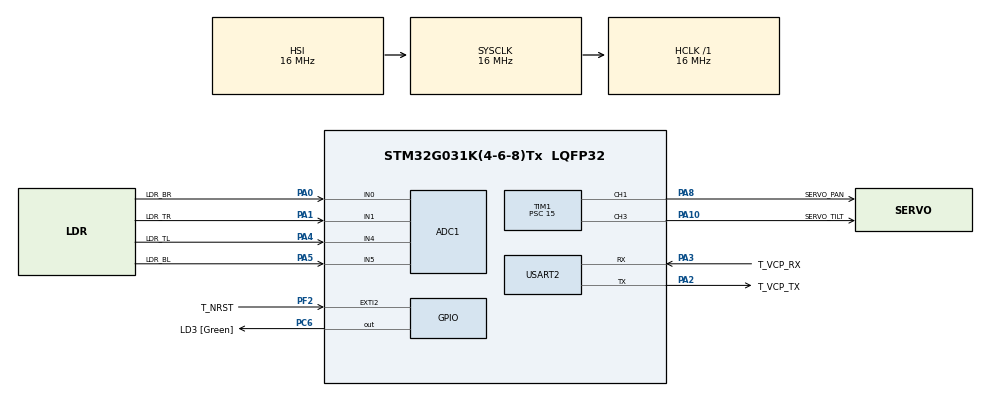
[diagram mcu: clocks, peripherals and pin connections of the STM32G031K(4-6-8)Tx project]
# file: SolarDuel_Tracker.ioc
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ADC1.Channel-0\#ChannelRegularConversion=ADC_CHANNEL_0
ADC1.NbrOfConversionFlag=1
ADC1.Rank-0\#ChannelRegularConversion=1
ADC1.SamplingTime-0\#ChannelRegularConversion=ADC_SAMPLINGTIME_COMMON_1
ADC1.SelectedChannel=ADC_CHANNEL_0|ADC_CHANNEL_1|ADC_CHANNEL_4|ADC_CHANNEL_5
ADC1.master=1
Mcu.Family=STM32G0
Mcu.Name=STM32G031K(4-6-8)Tx
Mcu.Package=LQFP32
PA0.GPIO_Label=LDR_BR
PA0.Mode=IN0
PA0.Signal=ADC1_IN0
PA1.GPIO_Label=LDR_TR
PA1.Mode=IN1
PA1.Signal=ADC1_IN1
PA10.GPIO_Label=SERVO_TILT
PA10.Signal=S_TIM1_CH3
PA13.GPIO_Label=T_JTMS
PA13.Mode=Serial_Wire
PA13.Signal=SYS_SWDIO
PA14-BOOT0.GPIO_Label=T_JTCK
PA14-BOOT0.Mode=Serial_Wire
PA14-BOOT0.Signal=SYS_SWCLK
PA2.GPIO_Label=T_VCP_TX
PA2.GPIO_PuPd=GPIO_PULLUP
PA2.Mode=Asynchronous
PA2.Signal=USART2_TX
PA3.GPIO_Label=T_VCP_RX
PA3.GPIO_PuPd=GPIO_PULLUP
PA3.Mode=Asynchronous
PA3.Signal=USART2_RX
PA4.GPIO_Label=LDR_TL
PA4.Mode=IN4
PA4.Signal=ADC1_IN4
PA5.GPIO_Label=LDR_BL
PA5.Mode=IN5
PA5.Signal=ADC1_IN5
PA8.GPIO_Label=SERVO_PAN
PA8.Signal=S_TIM1_CH1
PC14-OSC32_IN\ (PC14).Mode=LSE-External-Oscillator
PC14-OSC32_IN\ (PC14).Signal=RCC_OSC32_IN
PC15-OSC32_OUT\ (PC15).Mode=LSE-External-Oscillator
PC15-OSC32_OUT\ (PC15).Signal=RCC_OSC32_OUT
PC6.GPIO_Label=LD3 [Green]
PC6.Signal=GPIO_Output
PF2\ -\ NRST.GPIO_Label=T_NRST
PF2\ -\ NRST.Signal=GPXTI2
ProjectManager.HeapSize=0x200
ProjectManager.StackSize=0x400
ProjectManager.TargetToolchain=STM32CubeIDE
RCC.AHBFreq_Value=16000000
RCC.CortexFreq_Value=16000000
RCC.EXTERNAL_CLOCK_VALUE=12288000
RCC.HCLKFreq_Value=16000000
RCC.HSE_VALUE=8000000
RCC.HSI_VALUE=16000000
RCC.SYSCLKFreq_VALUE=16000000
RCC.VCOOutputFreq_Value=128000000
SH.S_TIM1_CH1.0=TIM1_CH1,PWM Generation1 CH1
SH.S_TIM1_CH3.0=TIM1_CH3,PWM Generation3 CH3
TIM1.Channel-PWM\ Generation1\ CH1=TIM_CHANNEL_1
TIM1.Channel-PWM\ Generation3\ CH3=TIM_CHANNEL_3
TIM1.Period=19999
TIM1.Prescaler=15
USART2.VirtualMode-Asynchronous=VM_ASYNC
USART2.WordLength=WORDLENGTH_7B
board=NUCLEO-G031K8

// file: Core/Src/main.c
/* USER CODE BEGIN Header */
/**
  ******************************************************************************
  * @file           : main.c
  * @brief          : Main program body
  ******************************************************************************
  * @attention
  *
  * Copyright (c) 2026 STMicroelectronics.
  * All rights reserved.
  *
  * This software is licensed under terms that can be found in the LICENSE file
  * in the root directory of this software component.
  * If no LICENSE file comes with this software, it is provided AS-IS.
  *
  ******************************************************************************
  */
/* USER CODE END Header */
#include "main.h"

/* USER CODE BEGIN Includes */
#include <stdlib.h>
#include <stdio.h>
/* USER CODE END Includes */

/* USER CODE BEGIN PTD */

/* 1-D Kalman filter state for LDR noise reduction */
typedef struct {
    float x;    /* State estimate */
    float p;    /* Estimate covariance */
    float q;    /* Process noise */
    float r;    /* Measurement noise */
} Kalman1D;

/* PID controller with derivative-on-measurement and filtered derivative */
typedef struct {
    float kp;
    float ki;
    float kd;
    float integral;
    float prev_error;
    float prev_measurement;
    float i_limit;
    float d_filtered;
    float d_alpha;
    float prev_raw_d;
} PID;
/* USER CODE END PTD */

/* USER CODE BEGIN PD */

/* Servo PWM pulse limits (microseconds) */
#define PAN_MIN              500
#define PAN_MAX              2000
#define TILT_MIN             500
#define TILT_MAX             1300

/* Output low-pass filter (1.0 = disabled, smaller = more smoothing) */
#define SMOOTH_ALPHA         0.95f

/* Adaptive deadband bounds (LDR ADC units) */
#define TOL_MIN              50.0f
#define TOL_MAX              80.0f

/* Number of ADC samples averaged per LDR read */
#define LDR_SAMPLES          3

/* Consecutive out-of-band samples required before PID activates */
#define CONFIRM_THRESH       2

/* Slew rate limit: max change in servo target per control loop (us) */
#define MAX_DELTA_PER_LOOP   15.0f

/* Fixed control loop period (ms) for deterministic sampling */
#define LOOP_PERIOD_MS       5
/* USER CODE END PD */

ADC_HandleTypeDef hadc1;
TIM_HandleTypeDef htim1;
UART_HandleTypeDef huart2;

/* USER CODE BEGIN PV */

/* Raw ADC values from the four LDR sensors (Top-Left, Top-Right, Bottom-Left, Bottom-Right) */
uint16_t ldr_TL = 0, ldr_TR = 0, ldr_BL = 0, ldr_BR = 0;

/* Per-sensor Kalman filters: initial state 2048 (mid-range), tuned Q/R for slow light changes */
Kalman1D k_TL = {2048, 1.0f, 2.0f, 200.0f};
Kalman1D k_TR = {2048, 1.0f, 2.0f, 200.0f};
Kalman1D k_BL = {2048, 1.0f, 2.0f, 200.0f};
Kalman1D k_BR = {2048, 1.0f, 2.0f, 200.0f};

/* PID gains tuned for MG996R servo + 10k pull-down LDR bridge at 200 Hz loop rate.
 * Field order: kp, ki, kd, integral, prev_error, prev_measurement, i_limit, d_filtered, d_alpha, prev_raw_d
 */
PID pid_pan  = {0.0045f, 0.002f, 0.0005f, 0, 0, 0, 20.0f, 0, 0.15f, 0};
PID pid_tilt = {0.0045f, 0.002f, 0.0005f, 0, 0, 0, 20.0f, 0, 0.15f, 0};

/* Servo target (PID output) and smoothed position (PWM command) */
float target_pan  = 1250;
float target_tilt = 900;
float pos_pan     = 1250;
float pos_tilt    = 900;

/* PID active flags - controllers idle when error stays within deadband */
uint8_t pan_active  = 0;
uint8_t tilt_active = 0;

/* Counters used to debounce PID activation on transient noise */
uint8_t pan_confirm  = 0;
uint8_t tilt_confirm = 0;
/* USER CODE END PV */

void SystemClock_Config(void);
static void MX_GPIO_Init(void);
static void MX_USART2_UART_Init(void);
static void MX_ADC1_Init(void);
static void MX_TIM1_Init(void);

/* USER CODE BEGIN 0 */

/* Reads a single ADC channel multiple times and returns the average.
 * Software oversampling reduces noise from LDR thermal drift and supply ripple.
 */
uint16_t Read_LDR_Avg(uint32_t Channel) {
    ADC_ChannelConfTypeDef sConfig = {0};
    sConfig.Channel = Channel;
    sConfig.Rank = ADC_REGULAR_RANK_1;
    sConfig.SamplingTime = ADC_SAMPLINGTIME_COMMON_1;
    HAL_ADC_ConfigChannel(&hadc1, &sConfig);

    uint32_t sum = 0;
    for (int i = 0; i < LDR_SAMPLES; i++) {
        HAL_ADC_Start(&hadc1);
        HAL_ADC_PollForConversion(&hadc1, 10);
        sum += HAL_ADC_GetValue(&hadc1);
    }
    HAL_ADC_Stop(&hadc1);

    return (uint16_t)(sum / LDR_SAMPLES);
}

/* Standard 1-D Kalman filter update step.
 * Predicts forward, then corrects with the new measurement.
 */
float Kalman_Update(Kalman1D *k, float measurement) {
    k->p = k->p + k->q;
    float kg = k->p / (k->p + k->r);
    k->x = k->x + kg * (measurement - k->x);
    k->p = (1.0f - kg) * k->p;
    return k->x;
}

/* Adaptive deadband scales with ambient light level.
 * Brighter ambient means more noise on the differential signal,
 * so the deadband widens proportionally.
 */
float Calc_Adaptive_Tol(float ambient) {
    float ratio = ambient / 4096.0f;
    return TOL_MIN + ratio * (TOL_MAX - TOL_MIN);
}

/* PID update with several industrial-grade features:
 *  - Tustin (trapezoidal) integration for accurate discrete-time behavior
 *  - Derivative on measurement (not error) to prevent derivative kick on setpoint changes
 *  - Low-pass filter on derivative to attenuate sensor noise
 *  - Hysteresis-based deadband with confirmation counter (debounced activation)
 *  - Asymmetric enter/exit thresholds prevent limit cycling at the boundary
 *  - Integral clamping for anti-windup
 */
float PID_Update(PID *pid, float setpoint, float measurement, float dt,
                 uint8_t *active, float tol, uint8_t *confirm) {
    float error = setpoint - measurement;
    float thr_enter = tol;
    float thr_exit  = tol * 2.5f;

    if (error > -thr_enter && error < thr_enter) {
        /* Inside deadband */
        *confirm = 0;
        if (*active) {
            /* Already active - require deeper return before deactivating (hysteresis) */
            if (error > -thr_exit && error < thr_exit) {
                pid->integral   = 0.0f;
                pid->prev_error = 0.0f;
                pid->prev_measurement = measurement;
                pid->d_filtered = 0.0f;
                pid->prev_raw_d = 0.0f;
                *active = 0;
            }
        }
        if (!(*active)) {
            /* Track measurement while idle so derivative is sane on next activation */
            pid->prev_measurement = measurement;
            return 0.0f;
        }
    } else {
        /* Outside deadband */
        if (!(*active)) {
            (*confirm)++;
            pid->prev_measurement = measurement;
            if (*confirm < CONFIRM_THRESH) {
                return 0.0f;
            }
            *active = 1;
            pid->prev_error = error;
        }
    }

    /* Trapezoidal integration with clamping anti-windup */
    pid->integral += (error + pid->prev_error) * 0.5f * dt;
    if (pid->integral >  pid->i_limit) pid->integral =  pid->i_limit;
    if (pid->integral < -pid->i_limit) pid->integral = -pid->i_limit;

    /* Derivative on measurement (negated to match error-derivative sign) with bilinear LPF */
    float raw_d = -(measurement - pid->prev_measurement) / dt;
    float k  = pid->d_alpha * 0.5f;
    float c1 = (1.0f - k) / (1.0f + k);
    float c2 =  k         / (1.0f + k);
    pid->d_filtered = c1 * pid->d_filtered + c2 * (raw_d + pid->prev_raw_d);

    pid->prev_error = error;
    pid->prev_measurement = measurement;
    pid->prev_raw_d = raw_d;

    return (pid->kp * error) + (pid->ki * pid->integral) + (pid->kd * pid->d_filtered);
}

/* Slew rate limiter: caps how much the target can move in a single loop iteration.
 * Prevents large PID outputs from commanding mechanically jarring servo movements.
 */
float Apply_Slew(float delta) {
    if (delta >  MAX_DELTA_PER_LOOP) return  MAX_DELTA_PER_LOOP;
    if (delta < -MAX_DELTA_PER_LOOP) return -MAX_DELTA_PER_LOOP;
    return delta;
}

/* USER CODE END 0 */

int main(void)
{

  HAL_Init();

  SystemClock_Config();

  MX_GPIO_Init();
  MX_USART2_UART_Init();
  MX_ADC1_Init();
  MX_TIM1_Init();

  /* USER CODE BEGIN 2 */
  HAL_TIM_PWM_Start(&htim1, TIM_CHANNEL_1);
  HAL_TIM_PWM_Start(&htim1, TIM_CHANNEL_3);

  /* Soft start: smoothly ramp servos from minimum to home position over 1 second.
   * Prevents inrush current spikes and mechanical shock on power-up.
   * Blocking HAL_Delay is acceptable here since this runs only once at boot.
   */
  for (int i = 1; i <= 50; i++) {
        uint16_t p = PAN_MIN + (uint16_t)((1250.0f - PAN_MIN) * i / 50.0f);
        uint16_t t = TILT_MIN + (uint16_t)((900.0f - TILT_MIN) * i / 50.0f);

        __HAL_TIM_SET_COMPARE(&htim1, TIM_CHANNEL_1, p);
        __HAL_TIM_SET_COMPARE(&htim1, TIM_CHANNEL_3, t);
        HAL_Delay(20);
    }

  uint32_t prev_time = HAL_GetTick();
  uint32_t next_tick = HAL_GetTick() + LOOP_PERIOD_MS;
  /* USER CODE END 2 */

  /* Infinite loop */
  while (1)
  {

    /* USER CODE BEGIN 3 */

    /* Non-blocking timer: run control loop every LOOP_PERIOD_MS milliseconds.
     * Signed cast handles 32-bit tick counter overflow correctly (~49 day rollover).
     */
    if ((int32_t)(HAL_GetTick() - next_tick) >= 0) {
        next_tick += LOOP_PERIOD_MS;

        /* If execution fell far behind (e.g. due to a debug breakpoint),
         * skip the catch-up burst and resync to the current time.
         */
        if ((int32_t)(HAL_GetTick() - next_tick) > 100) {
            next_tick = HAL_GetTick() + LOOP_PERIOD_MS;
        }

        /* Measure actual loop period for PID time-step.
         * Even with the fixed schedule, using measured dt keeps the math correct
         * if the schedule slips.
         */
        uint32_t current_time = HAL_GetTick();
        float dt = (current_time - prev_time) / 1000.0f;
        if (dt < 0.001f) dt = 0.001f;
        prev_time = current_time;

        /* Read the four LDRs. Channel mapping is set by the PCB layout. */
        ldr_TL = Read_LDR_Avg(ADC_CHANNEL_4);
        ldr_TR = Read_LDR_Avg(ADC_CHANNEL_1);
        ldr_BL = Read_LDR_Avg(ADC_CHANNEL_5);
        ldr_BR = Read_LDR_Avg(ADC_CHANNEL_0);

        /* Kalman filter each sensor independently for noise reduction. */
        float f_TL = Kalman_Update(&k_TL, ldr_TL);
        float f_TR = Kalman_Update(&k_TR, ldr_TR);
        float f_BL = Kalman_Update(&k_BL, ldr_BL);
        float f_BR = Kalman_Update(&k_BR, ldr_BR);

        /* Compute the four edge averages used for differential error signals. */
        float avg_top    = (f_TL + f_TR) / 2.0f;
        float avg_bottom = (f_BL + f_BR) / 2.0f;
        float avg_left   = (f_TL + f_BL) / 2.0f;
        float avg_right  = (f_TR + f_BR) / 2.0f;

        /* Ambient light estimate drives the adaptive deadband. */
        float ambient      = (f_TL + f_TR + f_BL + f_BR) / 4.0f;
        float adaptive_tol = Calc_Adaptive_Tol(ambient);

        /* Setpoint is zero: we want left=right and top=bottom (perfectly aimed at the sun). */
        float setpoint = 0.0f;

        /* Differential measurements: positive pan means right side is brighter,
         * positive tilt means bottom is brighter.
         */
        float meas_pan  = avg_right - avg_left;
        float meas_tilt = avg_bottom - avg_top;

        /* Run both PID controllers. */
        float out_pan  = PID_Update(&pid_pan,  setpoint, meas_pan,  dt, &pan_active,  adaptive_tol, &pan_confirm);
        float out_tilt = PID_Update(&pid_tilt, setpoint, meas_tilt, dt, &tilt_active, adaptive_tol, &tilt_confirm);

        /* Apply slew limit and update servo targets.
         * Sign is negated: positive error (light unbalanced right) needs servo to move toward light.
         */
        float dpan  = Apply_Slew(-out_pan);
        float dtilt = Apply_Slew(-out_tilt);
        target_pan  += dpan;
        target_tilt += dtilt;

        /* Conditional anti-windup: when the target saturates against a limit,
         * clear any integral pushing further into the saturation.
         */
        if (target_pan > PAN_MAX) {
            target_pan = PAN_MAX;
            if (pid_pan.integral < 0) pid_pan.integral = 0;
        } else if (target_pan < PAN_MIN) {
            target_pan = PAN_MIN;
            if (pid_pan.integral > 0) pid_pan.integral = 0;
        }

        if (target_tilt > TILT_MAX) {
            target_tilt = TILT_MAX;
            if (pid_tilt.integral < 0) pid_tilt.integral = 0;
        } else if (target_tilt < TILT_MIN) {
            target_tilt = TILT_MIN;
            if (pid_tilt.integral > 0) pid_tilt.integral = 0;
        }

        /* Optional low-pass on the commanded position (currently near-disabled at 0.95). */
        pos_pan  = pos_pan  + SMOOTH_ALPHA * (target_pan  - pos_pan);
        pos_tilt = pos_tilt + SMOOTH_ALPHA * (target_tilt - pos_tilt);

        /* Send PWM command to the servos. */
        __HAL_TIM_SET_COMPARE(&htim1, TIM_CHANNEL_1, (uint16_t)(pos_pan + 0.5f));
        __HAL_TIM_SET_COMPARE(&htim1, TIM_CHANNEL_3, (uint16_t)(pos_tilt + 0.5f));
    }

    /* CPU is free between control loop iterations - background tasks can run here. */
  }
  /* USER CODE END 3 */
}

void SystemClock_Config(void)
{
  RCC_OscInitTypeDef RCC_OscInitStruct = {0};
  RCC_ClkInitTypeDef RCC_ClkInitStruct = {0};

  HAL_PWREx_ControlVoltageScaling(PWR_REGULATOR_VOLTAGE_SCALE1);

  RCC_OscInitStruct.OscillatorType = RCC_OSCILLATORTYPE_HSI;
  RCC_OscInitStruct.HSIState = RCC_HSI_ON;
  RCC_OscInitStruct.HSIDiv = RCC_HSI_DIV1;
  RCC_OscInitStruct.HSICalibrationValue = RCC_HSICALIBRATION_DEFAULT;
  RCC_OscInitStruct.PLL.PLLState = RCC_PLL_NONE;
  if (HAL_RCC_OscConfig(&RCC_OscInitStruct) != HAL_OK)
  {
    Error_Handler();
  }

  RCC_ClkInitStruct.ClockType = RCC_CLOCKTYPE_HCLK|RCC_CLOCKTYPE_SYSCLK
                              |RCC_CLOCKTYPE_PCLK1;
  RCC_ClkInitStruct.SYSCLKSource = RCC_SYSCLKSOURCE_HSI;
  RCC_ClkInitStruct.AHBCLKDivider = RCC_SYSCLK_DIV1;
  RCC_ClkInitStruct.APB1CLKDivider = RCC_HCLK_DIV1;

  if (HAL_RCC_ClockConfig(&RCC_ClkInitStruct, FLASH_LATENCY_0) != HAL_OK)
  {
    Error_Handler();
  }
}

static void MX_ADC1_Init(void)
{

  ADC_ChannelConfTypeDef sConfig = {0};

  hadc1.Instance = ADC1;
  hadc1.Init.ClockPrescaler = ADC_CLOCK_SYNC_PCLK_DIV2;
  hadc1.Init.Resolution = ADC_RESOLUTION_12B;
  hadc1.Init.DataAlign = ADC_DATAALIGN_RIGHT;
  hadc1.Init.ScanConvMode = ADC_SCAN_DISABLE;
  hadc1.Init.EOCSelection = ADC_EOC_SINGLE_CONV;
  hadc1.Init.LowPowerAutoWait = DISABLE;
  hadc1.Init.LowPowerAutoPowerOff = DISABLE;
  hadc1.Init.ContinuousConvMode = DISABLE;
  hadc1.Init.NbrOfConversion = 1;
  hadc1.Init.DiscontinuousConvMode = DISABLE;
  hadc1.Init.ExternalTrigConv = ADC_SOFTWARE_START;
  hadc1.Init.ExternalTrigConvEdge = ADC_EXTERNALTRIGCONVEDGE_NONE;
  hadc1.Init.DMAContinuousRequests = DISABLE;
  hadc1.Init.Overrun = ADC_OVR_DATA_PRESERVED;
  hadc1.Init.SamplingTimeCommon1 = ADC_SAMPLETIME_160CYCLES_5;
  hadc1.Init.SamplingTimeCommon2 = ADC_SAMPLETIME_160CYCLES_5;
  hadc1.Init.OversamplingMode = DISABLE;
  hadc1.Init.TriggerFrequencyMode = ADC_TRIGGER_FREQ_HIGH;
  if (HAL_ADC_Init(&hadc1) != HAL_OK)
  {
    Error_Handler();
  }

  sConfig.Channel = ADC_CHANNEL_0;
  sConfig.Rank = ADC_REGULAR_RANK_1;
  sConfig.SamplingTime = ADC_SAMPLINGTIME_COMMON_1;
  if (HAL_ADC_ConfigChannel(&hadc1, &sConfig) != HAL_OK)
  {
    Error_Handler();
  }

}

static void MX_TIM1_Init(void)
{

  TIM_MasterConfigTypeDef sMasterConfig = {0};
  TIM_OC_InitTypeDef sConfigOC = {0};
  TIM_BreakDeadTimeConfigTypeDef sBreakDeadTimeConfig = {0};

  htim1.Instance = TIM1;
  htim1.Init.Prescaler = 15;
  htim1.Init.CounterMode = TIM_COUNTERMODE_UP;
  htim1.Init.Period = 19999;
  htim1.Init.ClockDivision = TIM_CLOCKDIVISION_DIV1;
  htim1.Init.RepetitionCounter = 0;
  htim1.Init.AutoReloadPreload = TIM_AUTORELOAD_PRELOAD_DISABLE;
  if (HAL_TIM_PWM_Init(&htim1) != HAL_OK)
  {
    Error_Handler();
  }
  sMasterConfig.MasterOutputTrigger = TIM_TRGO_RESET;
  sMasterConfig.MasterOutputTrigger2 = TIM_TRGO2_RESET;
  sMasterConfig.MasterSlaveMode = TIM_MASTERSLAVEMODE_DISABLE;
  if (HAL_TIMEx_MasterConfigSynchronization(&htim1, &sMasterConfig) != HAL_OK)
  {
    Error_Handler();
  }
  sConfigOC.OCMode = TIM_OCMODE_PWM1;
  sConfigOC.Pulse = 0;
  sConfigOC.OCPolarity = TIM_OCPOLARITY_HIGH;
  sConfigOC.OCNPolarity = TIM_OCNPOLARITY_HIGH;
  sConfigOC.OCFastMode = TIM_OCFAST_DISABLE;
  sConfigOC.OCIdleState = TIM_OCIDLESTATE_RESET;
  sConfigOC.OCNIdleState = TIM_OCNIDLESTATE_RESET;
  if (HAL_TIM_PWM_ConfigChannel(&htim1, &sConfigOC, TIM_CHANNEL_1) != HAL_OK)
  {
    Error_Handler();
  }
  if (HAL_TIM_PWM_ConfigChannel(&htim1, &sConfigOC, TIM_CHANNEL_3) != HAL_OK)
  {
    Error_Handler();
  }
  sBreakDeadTimeConfig.OffStateRunMode = TIM_OSSR_DISABLE;
  sBreakDeadTimeConfig.OffStateIDLEMode = TIM_OSSI_DISABLE;
  sBreakDeadTimeConfig.LockLevel = TIM_LOCKLEVEL_OFF;
  sBreakDeadTimeConfig.DeadTime = 0;
  sBreakDeadTimeConfig.BreakState = TIM_BREAK_DISABLE;
  sBreakDeadTimeConfig.BreakPolarity = TIM_BREAKPOLARITY_HIGH;
  sBreakDeadTimeConfig.BreakFilter = 0;
  sBreakDeadTimeConfig.BreakAFMode = TIM_BREAK_AFMODE_INPUT;
  sBreakDeadTimeConfig.Break2State = TIM_BREAK2_DISABLE;
  sBreakDeadTimeConfig.Break2Polarity = TIM_BREAK2POLARITY_HIGH;
  sBreakDeadTimeConfig.Break2Filter = 0;
  sBreakDeadTimeConfig.Break2AFMode = TIM_BREAK_AFMODE_INPUT;
  sBreakDeadTimeConfig.AutomaticOutput = TIM_AUTOMATICOUTPUT_DISABLE;
  if (HAL_TIMEx_ConfigBreakDeadTime(&htim1, &sBreakDeadTimeConfig) != HAL_OK)
  {
    Error_Handler();
  }
  HAL_TIM_MspPostInit(&htim1);

}

static void MX_USART2_UART_Init(void)
{

  huart2.Instance = USART2;
  huart2.Init.BaudRate = 115200;
  huart2.Init.WordLength = UART_WORDLENGTH_8B;
  huart2.Init.StopBits = UART_STOPBITS_1;
  huart2.Init.Parity = UART_PARITY_NONE;
  huart2.Init.Mode = UART_MODE_TX_RX;
  huart2.Init.HwFlowCtl = UART_HWCONTROL_NONE;
  huart2.Init.OverSampling = UART_OVERSAMPLING_16;
  huart2.Init.OneBitSampling = UART_ONE_BIT_SAMPLE_DISABLE;
  huart2.Init.ClockPrescaler = UART_PRESCALER_DIV1;
  huart2.AdvancedInit.AdvFeatureInit = UART_ADVFEATURE_NO_INIT;
  if (HAL_UART_Init(&huart2) != HAL_OK)
  {
    Error_Handler();
  }

}

static void MX_GPIO_Init(void)
{
  GPIO_InitTypeDef GPIO_InitStruct = {0};

  __HAL_RCC_GPIOC_CLK_ENABLE();
  __HAL_RCC_GPIOF_CLK_ENABLE();
  __HAL_RCC_GPIOA_CLK_ENABLE();

  HAL_GPIO_WritePin(LD3_GPIO_Port, LD3_Pin, GPIO_PIN_RESET);

  GPIO_InitStruct.Pin = T_NRST_Pin;
  GPIO_InitStruct.Mode = GPIO_MODE_IT_RISING;
  GPIO_InitStruct.Pull = GPIO_NOPULL;
  HAL_GPIO_Init(T_NRST_GPIO_Port, &GPIO_InitStruct);

  GPIO_InitStruct.Pin = LD3_Pin;
  GPIO_InitStruct.Mode = GPIO_MODE_OUTPUT_PP;
  GPIO_InitStruct.Pull = GPIO_NOPULL;
  GPIO_InitStruct.Speed = GPIO_SPEED_FREQ_LOW;
  HAL_GPIO_Init(LD3_GPIO_Port, &GPIO_InitStruct);

}

void Error_Handler(void)
{
  __disable_irq();
  while (1)
  {
  }
}
